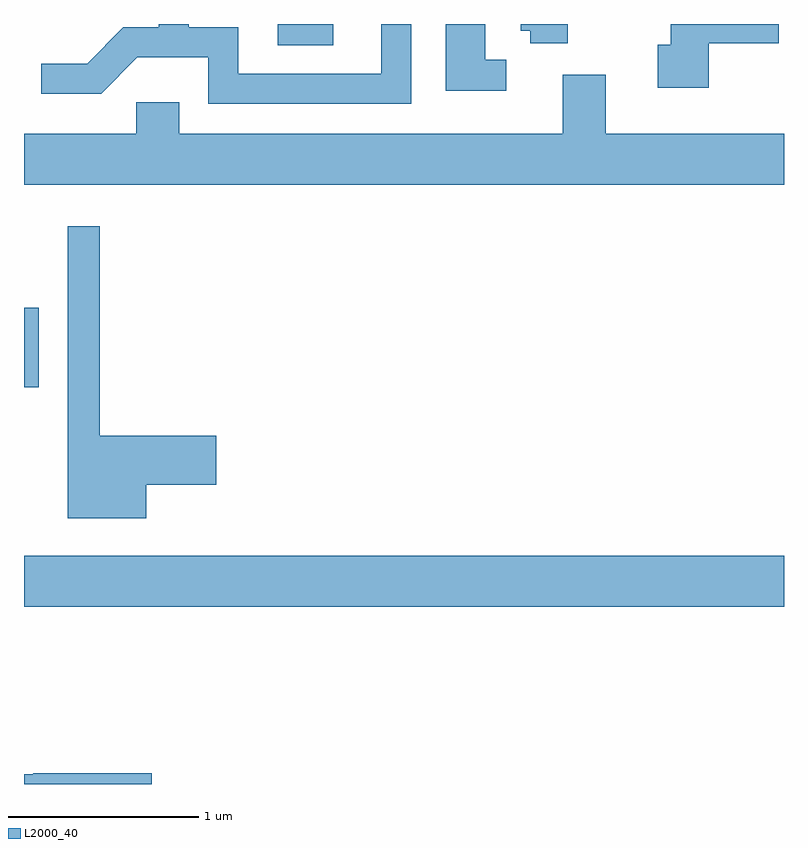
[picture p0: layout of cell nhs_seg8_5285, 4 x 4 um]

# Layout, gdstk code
import gdstk
lib = gdstk.Library(unit=1e-6, precision=1e-09)
def R(c, l, rs):  # rectangles x0, y0, x1, y1
    for r in rs: c.add(gdstk.rectangle(r[:2], r[2:], *l))
def P(c, l, *ps):  # polygons
    for p in ps: c.add(gdstk.Polygon(p, *l))
L2000_40 = (2000, 40)

nhs_seg8_5285 = lib.new_cell('nhs_seg8_5285')
R(nhs_seg8_5285, L2000_40, [(343.611,1865.276,347.611,1865.544), (343.611,1866.431,343.689,1866.849), (344.946,1868.231,345.238,1868.342)])
P(nhs_seg8_5285, L2000_40, [(345.649,1868.342),(345.491,1868.342),(345.491,1868.079),(344.739,1868.079),(344.739,1868.324),(344.479,1868.324),(344.479,1868.342),(344.321,1868.342),(344.321,1868.324),(344.134,1868.324),(343.944,1868.134),(343.703,1868.134),(343.703,1867.976),(344.017,1867.976),(344.207,1868.166),(344.581,1868.166),(344.581,1867.921),(345.649,1867.921)],
  [(346.148,1868.154),(346.039,1868.154),(346.039,1868.342),(345.831,1868.342),(345.831,1867.991),(346.148,1867.991)],
  [(346.474,1868.342),(346.226,1868.342),(346.226,1868.306),(346.276,1868.306),(346.276,1868.241),(346.474,1868.241)],
  [(347.214,1868.241),(347.584,1868.241),(347.584,1868.342),(347.016,1868.342),(347.016,1868.234),(346.946,1868.234),(346.946,1868.006),(347.214,1868.006)],
  [(347.611,1867.764),(346.674,1867.764),(346.674,1868.074),(346.446,1868.074),(346.446,1867.764),(344.429,1867.764),(344.429,1867.929),(344.201,1867.929),(344.201,1867.764),(343.611,1867.764),(343.611,1867.496),(347.611,1867.496)],
  [(344.254,1865.916),(344.624,1865.916),(344.624,1866.174),(344.009,1866.174),(344.009,1867.278),(343.841,1867.278),(343.841,1865.741),(344.254,1865.741)],
  [(344.284,1864.399),(343.66,1864.399),(343.66,1864.394),(343.611,1864.394),(343.611,1864.342),(344.284,1864.342)])

lib.write_gds('nhs_seg8_5285.gds')
